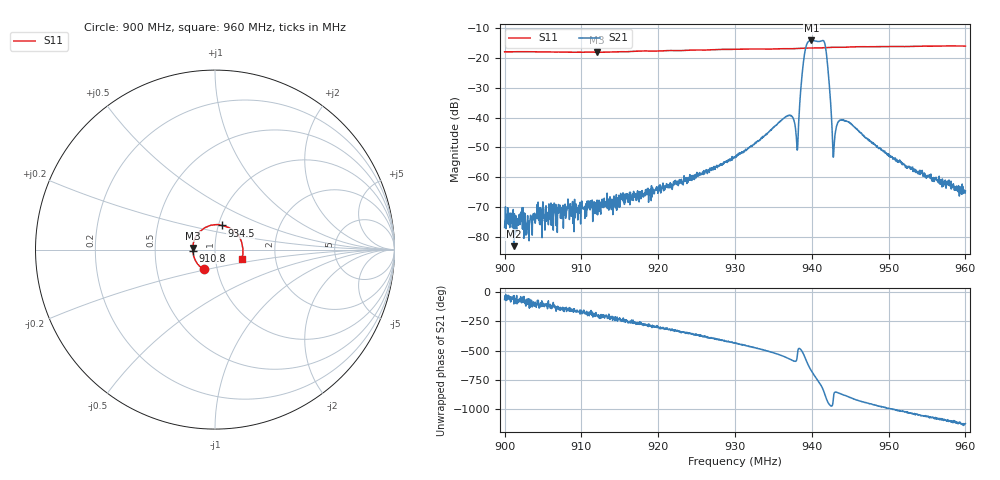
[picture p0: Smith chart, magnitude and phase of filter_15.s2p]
!Agilent Technologies,E5071C,MY46214392,A.11.36
!Date: Thu Feb 26 21:44:04 2026
!Data & Calibration Information:
!Freq	S11:NONE(--)	S21:NONE(--)	S12:NONE(--)	S22:NONE(--)
!PortZ  Port1:50+j0  Port2:50+j0
!Above PortZ is port z conversion or system Z0 setting when saving the data.
!When reading, reference impedance value at option line is always used.
# Hz S dB R 50
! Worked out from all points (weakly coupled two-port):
!   1601 points, 900 MHz to 960 MHz, reference 50 ohm
!   highest |S21| = -14.24 dB at 939.9 MHz (marker M1); lowest = -83.0 dB at 901.2 MHz (marker M2)
!   lowest |S11| = -18.2 dB at 912 MHz (marker M3), VSWR 1.28, Z = 39.1 + j0.672 ohm
!   |S11| at or under -10 dB: start of sweep to end of sweep
!   S12 and S22 are empty: the file has one direction only
!   S11 on the Smith chart (normalised r, x): 900 MHz: 0.86, -0.19; 910.8 MHz: 0.78, -0.01; 934.5 MHz: 1.04, +0.28; 960 MHz: 1.34, -0.14
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9e8  -18.04 -119.9  -76.73 -63.8  -200.00 0.0  -200.00 0.0
9.012e8  -18.02 -126.2  -82.97 -101.6  -200.00 0.0  -200.00 0.0
9.100125e8  -18.17 -173.6  -68.99 -175.0  -200.00 0.0  -200.00 0.0
9.108e8  -18.13 -177.7  -70.48 159.0  -200.00 0.0  -200.00 0.0
9.12e8  -18.19 176.1  -68.94 161.7  -200.00 0.0  -200.00 0.0
9.20025e8  -17.75 137.0  -63.44 57.9  -200.00 0.0  -200.00 0.0
9.3e8  -17.19 92.7  -53.23 -75.4  -200.00 0.0  -200.00 0.0
9.344625e8  -17.12 74.9  -44.62 -147.7  -200.00 0.0  -200.00 0.0
9.370875e8  -17.01 65.4  -39.21 149.7  -200.00 0.0  -200.00 0.0
9.380625e8  -16.94 62.3  -49.76 152.3  -200.00 0.0  -200.00 0.0
9.390375e8  -16.81 59.0  -19.03 173.7  -200.00 0.0  -200.00 0.0
9.399375e8  -16.76 55.2  -14.24 48.9  -200.00 0.0  -200.00 0.0
9.400125e8  -16.77 54.9  -14.25 40.9  -200.00 0.0  -200.00 0.0
9.411375e8  -16.72 51.1  -14.50 -69.0  -200.00 0.0  -200.00 0.0
9.417e8  -16.65 49.3  -15.32 -153.0  -200.00 0.0  -200.00 0.0
9.4215e8  -16.57 47.6  -25.11 133.8  -200.00 0.0  -200.00 0.0
9.426375e8  -16.53 45.5  -43.71 108.6  -200.00 0.0  -200.00 0.0
9.429e8  -16.52 44.5  -49.89 -145.5  -200.00 0.0  -200.00 0.0
9.434625e8  -16.51 42.3  -41.29 -140.5  -200.00 0.0  -200.00 0.0
9.442125e8  -16.52 39.7  -41.10 -160.1  -200.00 0.0  -200.00 0.0
9.50025e8  -16.26 18.0  -52.92 86.8  -200.00 0.0  -200.00 0.0
9.6e8  -16.11 -19.1  -64.56 -42.4  -200.00 0.0  -200.00 0.0
